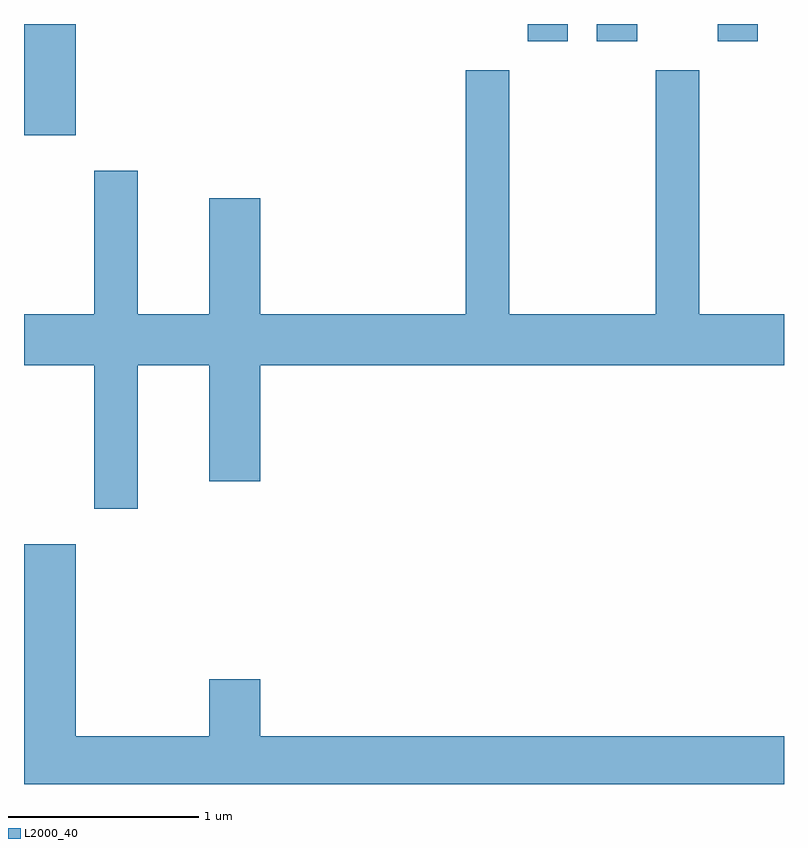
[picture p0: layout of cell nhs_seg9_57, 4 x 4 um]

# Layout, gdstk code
import gdstk
lib = gdstk.Library(unit=1e-6, precision=1e-09)
def R(c, l, rs):  # rectangles x0, y0, x1, y1
    for r in rs: c.add(gdstk.rectangle(r[:2], r[2:], *l))
def P(c, l, *ps):  # polygons
    for p in ps: c.add(gdstk.Polygon(p, *l))
L2000_40 = (2000, 40)

nhs_seg9_57 = lib.new_cell('nhs_seg9_57')
R(nhs_seg9_57, L2000_40, [(185.611,2061.846,185.884,2062.432), (188.261,2062.341,188.474,2062.432), (188.626,2062.341,188.839,2062.432), (189.261,2062.341,189.474,2062.432)])
P(nhs_seg9_57, L2000_40, [(186.209,2060.636),(186.586,2060.636),(186.586,2060.026),(186.854,2060.026),(186.854,2060.636),(189.611,2060.636),(189.611,2060.904),(189.164,2060.904),(189.164,2062.189),(188.936,2062.189),(188.936,2060.904),(188.164,2060.904),(188.164,2062.189),(187.936,2062.189),(187.936,2060.904),(186.854,2060.904),(186.854,2061.514),(186.586,2061.514),(186.586,2060.904),(186.209,2060.904),(186.209,2061.659),(185.981,2061.659),(185.981,2060.904),(185.611,2060.904),(185.611,2060.636),(185.981,2060.636),(185.981,2059.881),(186.209,2059.881)],
  [(189.611,2058.684),(186.854,2058.684),(186.854,2058.984),(186.586,2058.984),(186.586,2058.684),(185.884,2058.684),(185.884,2059.694),(185.611,2059.694),(185.611,2058.432),(189.611,2058.432)])

lib.write_gds('nhs_seg9_57.gds')
